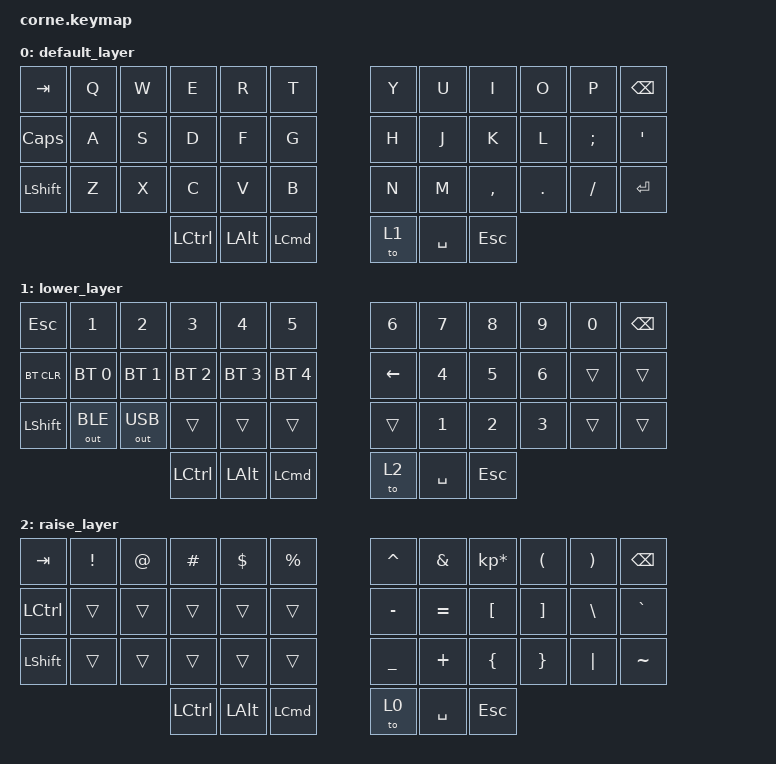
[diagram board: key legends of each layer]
/*
 * Copyright (c) 2020 The ZMK Contributors
 *
 * SPDX-License-Identifier: MIT
 */

#include <behaviors.dtsi>
#include <dt-bindings/zmk/keys.h>
#include <dt-bindings/zmk/bt.h>
#include <dt-bindings/zmk/outputs.h>

/ {
        keymap {
                compatible = "zmk,keymap";

                default_layer {
// -----------------------------------------------------------------------------------------
// |  TAB |  Q  |  W  |  E  |  R  |  T  |   |  Y  |  U   |  I  |  O  |  P  | BKSP |
// | CAPS |  A  |  S  |  D  |  F  |  G  |   |  H  |  J   |  K  |  L  |  ;  |  '   |
// | SHFT |  Z  |  X  |  C  |  V  |  B  |   |  N  |  M   |  ,  |  .  |  /  | ENT  |
//                    | CTRL| ALT | CMD |  | LWR | SPC  | ESC |
                        bindings = <
   &kp TAB   &kp Q &kp W &kp E &kp R &kp T   &kp Y &kp U  &kp I     &kp O   &kp P    &kp BSPC
   &kp CAPS  &kp A &kp S &kp D &kp F &kp G   &kp H &kp J  &kp K     &kp L   &kp SEMI &kp SQT
   &kp LSHFT &kp Z &kp X &kp C &kp V &kp B   &kp N &kp M  &kp COMMA &kp DOT &kp FSLH &kp RET
                  &kp LCTRL &kp LALT &kp LCMD   &to 1 &kp SPACE  &kp ESC
                        >;
                };
                lower_layer {
// -----------------------------------------------------------------------------------------
// |  ESC |  1    |  2    |  3  |  4  |  5  |   |  6  |  7  |  8  |  9  |  0  | BKSP |
// | BTCLR| BT1   | BT2   | BT3 | BT4 | BT5 |   | LFT |  4  |  5  |  6  |     |      |
// | SHFT |OUT_BLE|OUT_USB|     |     |     |   |     |  1  |  2  |  3  |     |      |
//                    | CTRL| ALT | CMD |   | LWR | SPC | ESC |
                        bindings = <
   &kp ESC    &kp  N1       &kp  N2       &kp N3       &kp N4       &kp N5         &kp N6   &kp N7   &kp N8 &kp N9    &kp N0 &kp BSPC
   &bt BT_CLR &bt  BT_SEL 0 &bt  BT_SEL 1 &bt BT_SEL 2 &bt BT_SEL 3 &bt BT_SEL 4   &kp LEFT &kp N4 &kp N5 &kp N6 &trans &trans
   &kp LSHFT  &out OUT_BLE  &out OUT_USB  &trans  &trans  &trans    &trans  &kp N1   &kp N2 &kp N3 &trans &trans
                                    &kp LCTRL &kp LALT &kp LCMD      &to 2  &kp SPACE  &kp ESC
                        >;
                };

                raise_layer {
// -----------------------------------------------------------------------------------------
// |  TAB |  !  |  @  |  #  |  $  |  %  |   |  ^  |  &  |  *  |  (  |  )  | BKSP |
// | CTRL |     |     |     |     |     |   |  -  |  =  |  [  |  ]  |  \  |  `   |
// | SHFT |     |     |     |     |     |   |  _  |  +  |  {  |  }  | "|" |  ~   |
//                    | CTRL| ALT | CMD |   | LWR | SPC  | ESC |
                        bindings = <
   &kp  TAB  &kp EXCL &kp AT &kp HASH &kp DLLR &kp PRCNT   &kp CARET &kp AMPS  &kp KP_MULTIPLY &kp LPAR &kp RPAR &kp BSPC
   &kp LCTRL &trans   &trans &trans   &trans   &trans      &kp MINUS &kp EQUAL &kp LBKT        &kp RBKT &kp BSLH &kp GRAVE
   &kp LSHFT &trans   &trans &trans   &trans   &trans      &kp UNDER &kp PLUS  &kp LBRC        &kp RBRC &kp PIPE &kp TILDE
                             &kp LCTRL &kp LALT &kp LCMD  &to 0   &kp SPACE  &kp ESC
                        >;
                };
        };
};
